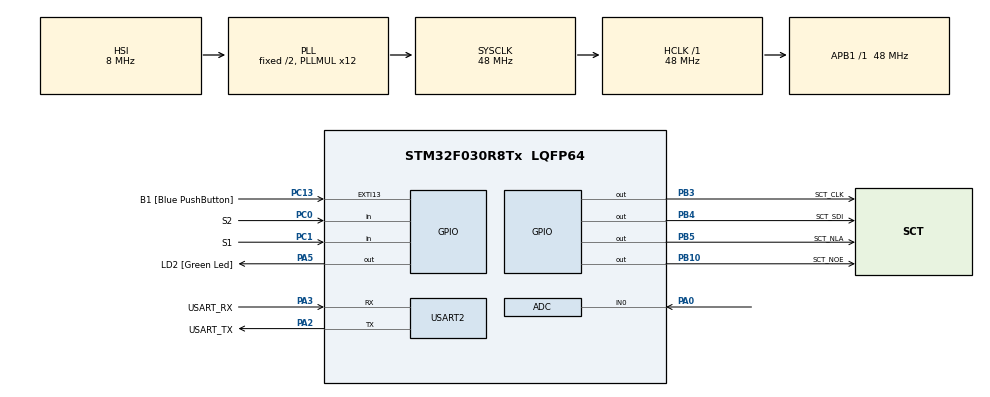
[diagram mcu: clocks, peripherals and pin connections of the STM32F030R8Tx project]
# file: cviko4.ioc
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ADC.ContinuousConvMode=ENABLE
ADC.Overrun=ADC_OVR_DATA_OVERWRITTEN
ADC.SamplingTime=ADC_SAMPLETIME_239CYCLES_5
Mcu.Family=STM32F0
Mcu.Name=STM32F030R8Tx
Mcu.Package=LQFP64
NVIC.ADC1_IRQn=true\:0\:0\:false\:false\:true\:true\:true\:true
PA0.Mode=IN0
PA0.Signal=ADC_IN0
PA13.GPIO_Label=TMS
PA13.Mode=Serial_Wire
PA13.Signal=SYS_SWDIO
PA14.GPIO_Label=TCK
PA14.Mode=Serial_Wire
PA14.Signal=SYS_SWCLK
PA2.GPIO_Label=USART_TX
PA2.GPIO_Mode=GPIO_MODE_AF_PP
PA2.GPIO_PuPd=GPIO_NOPULL
PA2.GPIO_Speed=GPIO_SPEED_FREQ_LOW
PA2.Mode=Asynchronous
PA2.Signal=USART2_TX
PA3.GPIO_Label=USART_RX
PA3.GPIO_Mode=GPIO_MODE_AF_PP
PA3.GPIO_PuPd=GPIO_NOPULL
PA3.GPIO_Speed=GPIO_SPEED_FREQ_LOW
PA3.Mode=Asynchronous
PA3.Signal=USART2_RX
PA5.GPIO_Label=LD2 [Green Led]
PA5.GPIO_Mode=GPIO_MODE_OUTPUT_PP
PA5.GPIO_PuPd=GPIO_NOPULL
PA5.GPIO_Speed=GPIO_SPEED_FREQ_LOW
PA5.Signal=GPIO_Output
PB10.GPIO_Label=SCT_NOE
PB10.Signal=GPIO_Output
PB3.GPIO_Label=SCT_CLK
PB3.Signal=GPIO_Output
PB4.GPIO_Label=SCT_SDI
PB4.Signal=GPIO_Output
PB5.GPIO_Label=SCT_NLA
PB5.Signal=GPIO_Output
PC0.GPIO_Label=S2
PC0.GPIO_PuPd=GPIO_PULLUP
PC0.Signal=GPIO_Input
PC1.GPIO_Label=S1
PC1.GPIO_PuPd=GPIO_PULLUP
PC1.Signal=GPIO_Input
PC13.GPIO_Label=B1 [Blue PushButton]
PC13.GPIO_ModeDefaultEXTI=GPIO_MODE_IT_FALLING
PC13.Signal=GPXTI13
PC14-OSC32_IN.Mode=LSE-External-Oscillator
PC14-OSC32_IN.Signal=RCC_OSC32_IN
PC15-OSC32_OUT.Mode=LSE-External-Oscillator
PC15-OSC32_OUT.Signal=RCC_OSC32_OUT
PF0-OSC_IN.Mode=HSE-External-Clock-Source
PF0-OSC_IN.Signal=RCC_OSC_IN
PF1-OSC_OUT.Signal=RCC_OSC_OUT
ProjectManager.HeapSize=0x200
ProjectManager.StackSize=0x400
ProjectManager.TargetToolchain=STM32CubeIDE
RCC.AHBFreq_Value=48000000
RCC.APB1Freq_Value=48000000
RCC.APB1TimFreq_Value=48000000
RCC.HCLKFreq_Value=48000000
RCC.PLLMUL=RCC_PLL_MUL12
RCC.SYSCLKFreq_VALUE=48000000
RCC.SYSCLKSource=RCC_SYSCLKSOURCE_PLLCLK
USART2.VirtualMode-Asynchronous=VM_ASYNC
VP_ADC_TempSens_Input.Mode=IN-TempSens
VP_ADC_Vref_Input.Mode=IN-Vrefint
board=NUCLEO-F030R8

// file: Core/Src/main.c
/* USER CODE BEGIN Header */
/**
 ******************************************************************************
 * @file           : main.c
 * @brief          : Main program body
 ******************************************************************************
 * @attention
 *
 * Copyright (c) 2023 STMicroelectronics.
 * All rights reserved.
 *
 * This software is licensed under terms that can be found in the LICENSE file
 * in the root directory of this software component.
 * If no LICENSE file comes with this software, it is provided AS-IS.
 *
 ******************************************************************************
 */
/* USER CODE END Header */
#include "main.h"

/* USER CODE BEGIN Includes */
#include "sct.h"

/* USER CODE END Includes */

/* Temperature sensor calibration value address */
#define TEMP110_CAL_ADDR ((uint16_t*) ((uint32_t) 0x1FFFF7C2))
#define TEMP30_CAL_ADDR ((uint16_t*) ((uint32_t) 0x1FFFF7B8))

/* Internal voltage reference calibration value address */
#define VREFINT_CAL_ADDR ((uint16_t*) ((uint32_t) 0x1FFFF7BA))

ADC_HandleTypeDef hadc;

UART_HandleTypeDef huart2;

void SystemClock_Config(void);
static void MX_GPIO_Init(void);
static void MX_USART2_UART_Init(void);
static void MX_ADC_Init(void);

/* USER CODE BEGIN 0 */
static uint32_t avg_pot;
static uint8_t ADC_Q = 12;
static uint32_t time;
static uint32_t channel;
static volatile uint32_t raw_pot;
static volatile uint32_t raw_temp;
static volatile uint32_t raw_volt;
static volatile uint32_t voltage;
static volatile int32_t temperature;
static enum {SHOW_POT, SHOW_VOLT, SHOW_TEMP} state = SHOW_POT;

void HAL_ADC_ConvCpltCallback(ADC_HandleTypeDef *hadc) {

	if (channel == SHOW_POT) {
		raw_pot = avg_pot >> ADC_Q;
		avg_pot -= raw_pot;
		avg_pot += HAL_ADC_GetValue(hadc);
	}
	if (channel == SHOW_TEMP) {
		raw_temp = HAL_ADC_GetValue(hadc);
		temperature = (raw_temp - (int32_t) (*TEMP30_CAL_ADDR));
		temperature = temperature * (int32_t) (110 - 30);
		temperature = temperature / (int32_t) (*TEMP110_CAL_ADDR - *TEMP30_CAL_ADDR);
		temperature = temperature + 30;

	}
	if (channel == SHOW_VOLT) {
		raw_volt = HAL_ADC_GetValue(hadc);
		voltage = 330 * (*VREFINT_CAL_ADDR) / raw_volt;
	}
	if (__HAL_ADC_GET_FLAG(hadc, ADC_FLAG_EOS))
		channel = 0;
	else
		channel++;
}

/* USER CODE END 0 */

int main(void) {

	/* MCU Configuration--------------------------------------------------------*/

	/* Reset of all peripherals, Initializes the Flash interface and the Systick. */
	HAL_Init();

	/* Configure the system clock */
	SystemClock_Config();

	/* Initialize all configured peripherals */
	MX_GPIO_Init();
	MX_USART2_UART_Init();
	MX_ADC_Init();
	/* USER CODE BEGIN 2 */
	sct_init();
	HAL_ADCEx_Calibration_Start(&hadc);
	HAL_ADC_Start_IT(&hadc);

	/* USER CODE END 2 */

	/* Infinite loop */
	while (1) {

		/* USER CODE BEGIN 3 */
		if (time + 1000 < HAL_GetTick()) {
			state = SHOW_POT;

		}
		if (!HAL_GPIO_ReadPin(S2_GPIO_Port, S2_Pin)) {
			state = SHOW_TEMP;
			time = HAL_GetTick();

		}
		if (!HAL_GPIO_ReadPin(S1_GPIO_Port, S1_Pin)) {
			state = SHOW_VOLT;
			time = HAL_GetTick();
		}
		if (state == SHOW_POT) {
			sct_value(raw_pot * 500 / 4090, raw_pot * 8 / 4090);
		}
		if (state == SHOW_TEMP) {
			sct_value(temperature, 0);
		}
		if (state == SHOW_VOLT) {
			sct_value(voltage, 0);
		}
		HAL_Delay(50);
		/*
		 sct_value(raw_pot*500/4090,raw_pot*8/4090);
		 HAL_Delay(50);
		 */
	}
	/* USER CODE END 3 */
}

void SystemClock_Config(void) {
	RCC_OscInitTypeDef RCC_OscInitStruct = { 0 };
	RCC_ClkInitTypeDef RCC_ClkInitStruct = { 0 };

	/** Initializes the RCC Oscillators according to the specified parameters
	 * in the RCC_OscInitTypeDef structure.
	 */
	RCC_OscInitStruct.OscillatorType = RCC_OSCILLATORTYPE_HSI
			| RCC_OSCILLATORTYPE_HSI14;
	RCC_OscInitStruct.HSIState = RCC_HSI_ON;
	RCC_OscInitStruct.HSI14State = RCC_HSI14_ON;
	RCC_OscInitStruct.HSICalibrationValue = RCC_HSICALIBRATION_DEFAULT;
	RCC_OscInitStruct.HSI14CalibrationValue = 16;
	RCC_OscInitStruct.PLL.PLLState = RCC_PLL_ON;
	RCC_OscInitStruct.PLL.PLLSource = RCC_PLLSOURCE_HSI;
	RCC_OscInitStruct.PLL.PLLMUL = RCC_PLL_MUL12;
	RCC_OscInitStruct.PLL.PREDIV = RCC_PREDIV_DIV1;
	if (HAL_RCC_OscConfig(&RCC_OscInitStruct) != HAL_OK) {
		Error_Handler();
	}

	/** Initializes the CPU, AHB and APB buses clocks
	 */
	RCC_ClkInitStruct.ClockType = RCC_CLOCKTYPE_HCLK | RCC_CLOCKTYPE_SYSCLK
			| RCC_CLOCKTYPE_PCLK1;
	RCC_ClkInitStruct.SYSCLKSource = RCC_SYSCLKSOURCE_PLLCLK;
	RCC_ClkInitStruct.AHBCLKDivider = RCC_SYSCLK_DIV1;
	RCC_ClkInitStruct.APB1CLKDivider = RCC_HCLK_DIV1;

	if (HAL_RCC_ClockConfig(&RCC_ClkInitStruct, FLASH_LATENCY_1) != HAL_OK) {
		Error_Handler();
	}
}

static void MX_ADC_Init(void) {

	ADC_ChannelConfTypeDef sConfig = { 0 };

	/** Configure the global features of the ADC (Clock, Resolution, Data Alignment and number of conversion)
	 */
	hadc.Instance = ADC1;
	hadc.Init.ClockPrescaler = ADC_CLOCK_ASYNC_DIV1;
	hadc.Init.Resolution = ADC_RESOLUTION_12B;
	hadc.Init.DataAlign = ADC_DATAALIGN_RIGHT;
	hadc.Init.ScanConvMode = ADC_SCAN_DIRECTION_FORWARD;
	hadc.Init.EOCSelection = ADC_EOC_SINGLE_CONV;
	hadc.Init.LowPowerAutoWait = DISABLE;
	hadc.Init.LowPowerAutoPowerOff = DISABLE;
	hadc.Init.ContinuousConvMode = ENABLE;
	hadc.Init.DiscontinuousConvMode = DISABLE;
	hadc.Init.ExternalTrigConv = ADC_SOFTWARE_START;
	hadc.Init.ExternalTrigConvEdge = ADC_EXTERNALTRIGCONVEDGE_NONE;
	hadc.Init.DMAContinuousRequests = DISABLE;
	hadc.Init.Overrun = ADC_OVR_DATA_OVERWRITTEN;
	if (HAL_ADC_Init(&hadc) != HAL_OK) {
		Error_Handler();
	}

	/** Configure for the selected ADC regular channel to be converted.
	 */
	sConfig.Channel = ADC_CHANNEL_0;
	sConfig.Rank = ADC_RANK_CHANNEL_NUMBER;
	sConfig.SamplingTime = ADC_SAMPLETIME_239CYCLES_5;
	if (HAL_ADC_ConfigChannel(&hadc, &sConfig) != HAL_OK) {
		Error_Handler();
	}

	/** Configure for the selected ADC regular channel to be converted.
	 */
	sConfig.Channel = ADC_CHANNEL_TEMPSENSOR;
	if (HAL_ADC_ConfigChannel(&hadc, &sConfig) != HAL_OK) {
		Error_Handler();
	}

	/** Configure for the selected ADC regular channel to be converted.
	 */
	sConfig.Channel = ADC_CHANNEL_VREFINT;
	if (HAL_ADC_ConfigChannel(&hadc, &sConfig) != HAL_OK) {
		Error_Handler();
	}

}

static void MX_USART2_UART_Init(void) {

	huart2.Instance = USART2;
	huart2.Init.BaudRate = 38400;
	huart2.Init.WordLength = UART_WORDLENGTH_8B;
	huart2.Init.StopBits = UART_STOPBITS_1;
	huart2.Init.Parity = UART_PARITY_NONE;
	huart2.Init.Mode = UART_MODE_TX_RX;
	huart2.Init.HwFlowCtl = UART_HWCONTROL_NONE;
	huart2.Init.OverSampling = UART_OVERSAMPLING_16;
	huart2.Init.OneBitSampling = UART_ONE_BIT_SAMPLE_DISABLE;
	huart2.AdvancedInit.AdvFeatureInit = UART_ADVFEATURE_NO_INIT;
	if (HAL_UART_Init(&huart2) != HAL_OK) {
		Error_Handler();
	}

}

static void MX_GPIO_Init(void) {
	GPIO_InitTypeDef GPIO_InitStruct = { 0 };

	/* GPIO Ports Clock Enable */
	__HAL_RCC_GPIOC_CLK_ENABLE();
	__HAL_RCC_GPIOF_CLK_ENABLE();
	__HAL_RCC_GPIOA_CLK_ENABLE();
	__HAL_RCC_GPIOB_CLK_ENABLE();

	/*Configure GPIO pin Output Level */
	HAL_GPIO_WritePin(LD2_GPIO_Port, LD2_Pin, GPIO_PIN_RESET);

	/*Configure GPIO pin Output Level */
	HAL_GPIO_WritePin(GPIOB,
			SCT_NOE_Pin | SCT_CLK_Pin | SCT_SDI_Pin | SCT_NLA_Pin,
			GPIO_PIN_RESET);

	/*Configure GPIO pin : B1_Pin */
	GPIO_InitStruct.Pin = B1_Pin;
	GPIO_InitStruct.Mode = GPIO_MODE_IT_FALLING;
	GPIO_InitStruct.Pull = GPIO_NOPULL;
	HAL_GPIO_Init(B1_GPIO_Port, &GPIO_InitStruct);

	/*Configure GPIO pins : S2_Pin S1_Pin */
	GPIO_InitStruct.Pin = S2_Pin | S1_Pin;
	GPIO_InitStruct.Mode = GPIO_MODE_INPUT;
	GPIO_InitStruct.Pull = GPIO_PULLUP;
	HAL_GPIO_Init(GPIOC, &GPIO_InitStruct);

	/*Configure GPIO pin : LD2_Pin */
	GPIO_InitStruct.Pin = LD2_Pin;
	GPIO_InitStruct.Mode = GPIO_MODE_OUTPUT_PP;
	GPIO_InitStruct.Pull = GPIO_NOPULL;
	GPIO_InitStruct.Speed = GPIO_SPEED_FREQ_LOW;
	HAL_GPIO_Init(LD2_GPIO_Port, &GPIO_InitStruct);

	/*Configure GPIO pins : SCT_NOE_Pin SCT_CLK_Pin SCT_SDI_Pin SCT_NLA_Pin */
	GPIO_InitStruct.Pin = SCT_NOE_Pin | SCT_CLK_Pin | SCT_SDI_Pin | SCT_NLA_Pin;
	GPIO_InitStruct.Mode = GPIO_MODE_OUTPUT_PP;
	GPIO_InitStruct.Pull = GPIO_NOPULL;
	GPIO_InitStruct.Speed = GPIO_SPEED_FREQ_LOW;
	HAL_GPIO_Init(GPIOB, &GPIO_InitStruct);

}

void Error_Handler(void) {
	__disable_irq();
	while (1) {
	}
}
